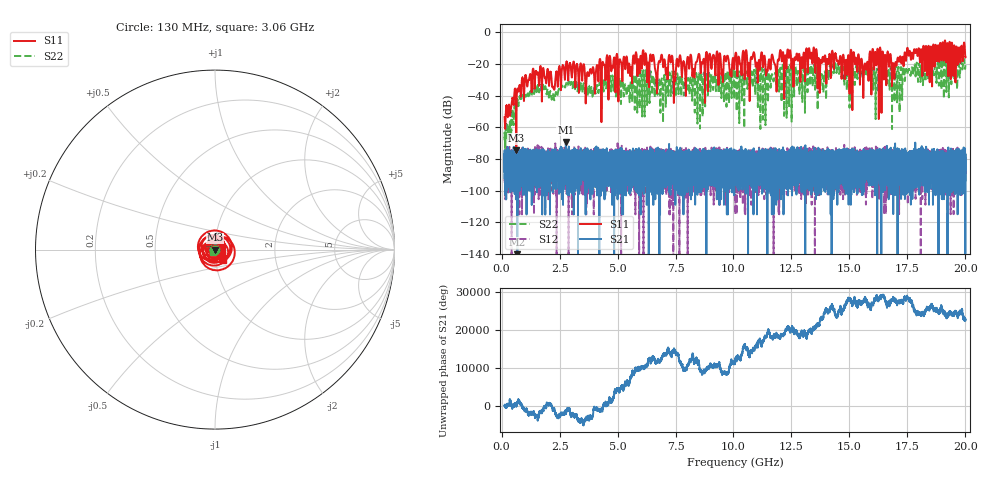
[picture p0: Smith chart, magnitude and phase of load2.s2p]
!Created with skrf (http://scikit-rf.org).
# GHz S RI R 50.0
!freq ReS11 ImS11 ReS21 ImS21 ReS12 ImS12 ReS22 ImS22
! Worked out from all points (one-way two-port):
!   20013 points, 130 MHz to 20 GHz, reference 50 ohm
!   highest |S21| = -69.35 dB at 2.77 GHz (marker M1); lowest = -178.6 dB at 678 MHz (marker M2)
!   lowest |S11| = -74.5 dB at 634 MHz (marker M3), VSWR 1.00, Z = 50 + j0.0133 ohm
!   |S11| at or under -10 dB: start of sweep to 13.45 GHz; 13.47 GHz to 16.31 GHz (2.842 GHz wide, 19.1 % of centre); 16.33 GHz to 17.49 GHz (1.162 GHz wide, 6.87 % of centre) (the widest 3 of 22)
!   |S22| runs from -78.6 to -15.9 dB; largest |S21 - S12| = 0.00039
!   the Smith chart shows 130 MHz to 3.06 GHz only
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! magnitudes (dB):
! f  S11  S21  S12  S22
! 130 MHz  -53.6  -78.2  -76.4  -66.7
! 634 MHz  -74.5  -87.5  -84.9  -48.5
! 678 MHz  -35.9  -178.6  -82.5  -42.5
! 1.42 GHz  -35.8  -80.8  -79.5  -37.6
! 2.238 GHz  -35.2  -83.1  -79.3  -40.1
! 2.77 GHz  -21.0  -69.3  -82.8  -32.9
! 3.442 GHz  -22.3  -80.4  -83.9  -31.9
! 5.542 GHz  -27.4  -85.5  -82.5  -36.5
! 6.156 GHz  -19.5  -84.7  -74.0  -34.0
! 6.754 GHz  -20.5  -78.0  -89.1  -32.3
! 7.287 GHz  -19.1  -77.1  -95.0  -35.2
! 7.476 GHz  -29.9  -80.0  -90.8  -25.6
! 10.06 GHz  -15.7  -87.3  -82.2  -24.7
! 11.82 GHz  -22.6  -93.7  -83.6  -26.9
! 12.06 GHz  -15.1  -81.5  -86.3  -32.1
! 13.38 GHz  -14.5  -84.4  -86.4  -22.3
! 15.65 GHz  -20.4  -84.5  -95.0  -23.0
! 15.95 GHz  -39.4  -96.9  -80.6  -23.3
! 16.69 GHz  -17.6  -80.0  -89.8  -23.1
! 16.91 GHz  -23.7  -90.9  -99.7  -23.2
! 17.54 GHz  -14.0  -93.3  -80.4  -23.7
! 20 GHz  -15.8  -93.8  -89.3  -20.8
